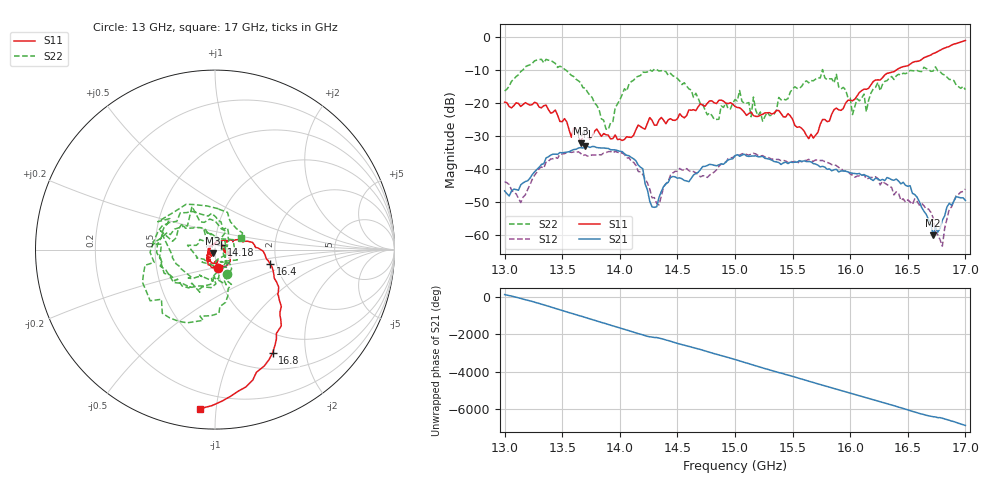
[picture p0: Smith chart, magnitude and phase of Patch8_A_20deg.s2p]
!Keysight Technologies,P9374A,MY57211810,A.19.30.04
!Date: Friday, May 09, 2025 09:21:11
!Correction: S11(Cdelta 2-Port  )
!S21(Cdelta 2-Port  )
!S12(Cdelta 2-Port  )
!S22(Cdelta 2-Port  )
!S2P File: Measurements: S11, S21, S12, S22:
# Hz S  dB  R 50
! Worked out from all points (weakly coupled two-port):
!   201 points, 13 GHz to 17 GHz, reference 50 ohm
!   highest |S21| = -33.11 dB at 13.7 GHz (marker M1); lowest = -60.2 dB at 16.72 GHz (marker M2)
!   lowest |S11| = -32.2 dB at 13.66 GHz (marker M3), VSWR 1.05, Z = 48.7 - j2.03 ohm
!   |S11| at or under -10 dB: start of sweep to 16.4 GHz
!   |S22| runs from -28.1 to -6.7 dB; largest |S21 - S12| = 0.0068
!   S11 on the Smith chart (normalised r, x): 13 GHz: 1.01, -0.21; 14.18 GHz: 1.07, +0.06; 16.4 GHz: 1.85, -0.32; 16.8 GHz: 0.71, -1.45; 17 GHz: 0.11, -0.91
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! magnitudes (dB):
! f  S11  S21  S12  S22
! 13 GHz  -19.7  -46.7  -43.8  -16.3
! 13.14 GHz  -21.0  -44.8  -50.2  -10.5
! 13.3 GHz  -21.3  -39.5  -39.9  -6.8
! 13.66 GHz  -32.2  -33.5  -35.3  -13.8
! 13.68 GHz  -30.1  -33.7  -35.9  -15.3
! 13.7 GHz  -28.2  -33.1  -35.7  -15.5
! 13.9 GHz  -29.7  -33.8  -34.8  -28.1
! 14.18 GHz  -27.2  -39.5  -40.9  -11.6
! 14.28 GHz  -25.3  -51.5  -48.8  -10.3
! 14.34 GHz  -25.2  -48.7  -50.9  -10.3
! 14.52 GHz  -23.3  -42.7  -39.8  -13.3
! 14.82 GHz  -19.9  -38.9  -40.9  -25.0
! 15 GHz  -21.0  -36.0  -36.0  -18.9
! 15.24 GHz  -23.4  -36.2  -36.0  -25.5
! 15.68 GHz  -30.7  -38.4  -37.7  -13.3
! 15.88 GHz  -21.5  -40.1  -39.0  -11.3
! 16.02 GHz  -19.3  -41.3  -41.9  -23.5
! 16.34 GHz  -10.8  -42.9  -45.1  -12.4
! 16.4 GHz  -10.0  -43.1  -47.0  -11.8
! 16.72 GHz  -5.0  -60.2  -54.8  -10.3
! 16.8 GHz  -3.6  -55.6  -63.4  -11.2
! 17 GHz  -1.0  -49.5  -46.1  -15.9
